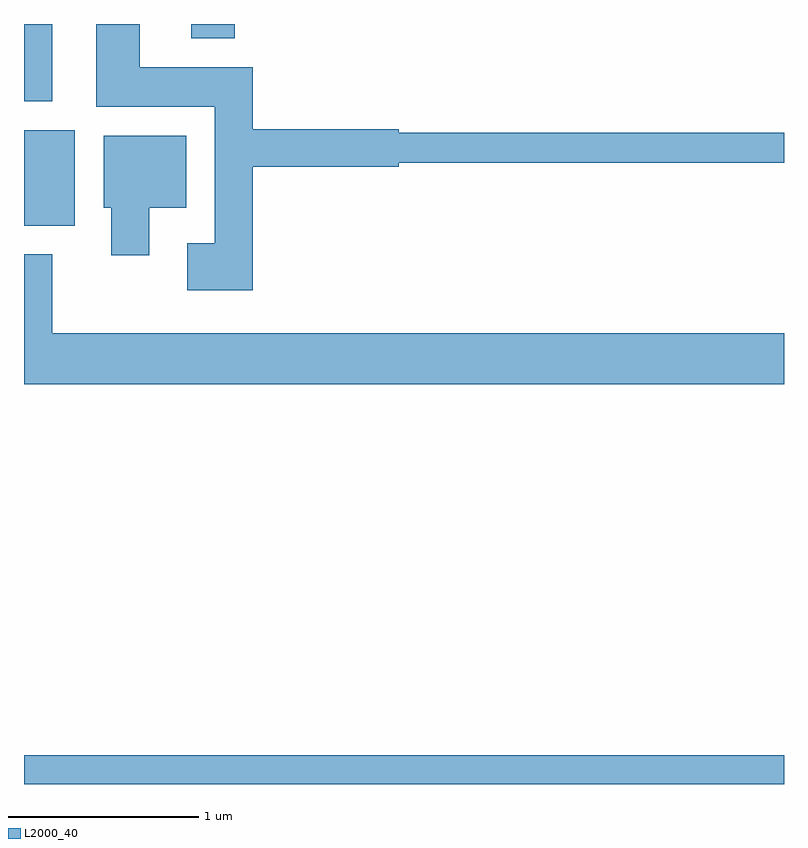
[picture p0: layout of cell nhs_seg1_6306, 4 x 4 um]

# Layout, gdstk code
import gdstk
lib = gdstk.Library(unit=1e-6, precision=1e-09)
def R(c, l, rs):  # rectangles x0, y0, x1, y1
    for r in rs: c.add(gdstk.rectangle(r[:2], r[2:], *l))
def P(c, l, *ps):  # polygons
    for p in ps: c.add(gdstk.Polygon(p, *l))
L2000_40 = (2000, 40)

nhs_seg1_6306 = lib.new_cell('nhs_seg1_6306')
R(nhs_seg1_6306, L2000_40, [(375.611,879.712,379.611,879.864), (375.611,882.651,375.879,883.154), (375.611,883.306,375.759,883.712), (376.491,883.636,376.719,883.712)])
P(nhs_seg1_6306, L2000_40, [(376.814,882.961),(377.584,882.961),(377.584,882.981),(379.611,882.981),(379.611,883.139),(377.584,883.139),(377.584,883.159),(376.814,883.159),(376.814,883.484),(376.219,883.484),(376.219,883.712),(375.991,883.712),(375.991,883.276),(376.616,883.276),(376.616,882.559),(376.471,882.559),(376.471,882.311),(376.814,882.311)],
  [(376.269,882.746),(376.464,882.746),(376.464,883.124),(376.031,883.124),(376.031,882.746),(376.071,882.746),(376.071,882.496),(376.269,882.496)],
  [(379.611,882.084),(375.759,882.084),(375.759,882.499),(375.611,882.499),(375.611,881.816),(379.611,881.816)])

lib.write_gds('nhs_seg1_6306.gds')
